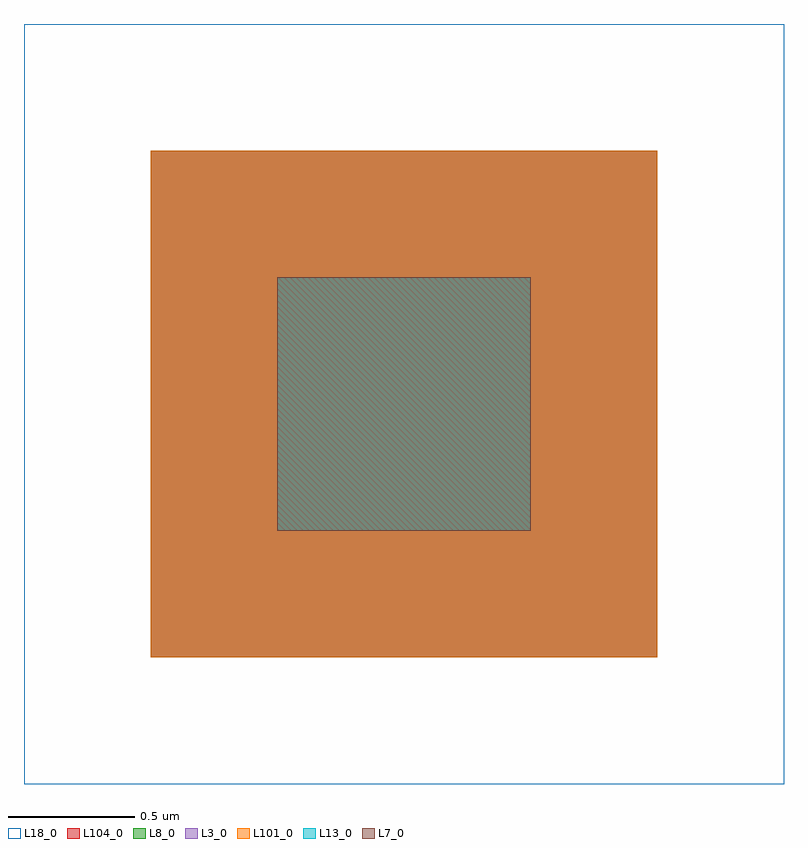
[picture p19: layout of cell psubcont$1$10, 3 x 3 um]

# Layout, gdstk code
import gdstk
lib = gdstk.Library(unit=1e-6, precision=1e-07)
def R(c, l, rs):  # rectangles x0, y0, x1, y1
    for r in rs: c.add(gdstk.rectangle(r[:2], r[2:], *l))
L3_0 = (3, 0)
L7_0 = (7, 0)
L8_0 = (8, 0)
L13_0 = (13, 0)
L18_0 = (18, 0)
L101_0 = (101, 0)
L104_0 = (104, 0)

dcont1_1_9 = lib.new_cell('dcont1$1$9')
R(dcont1_1_9, L3_0, [(-1,-1,1,1)])
R(dcont1_1_9, L7_0, [(-0.5,-0.5,0.5,0.5)])
R(dcont1_1_9, L8_0, [(-1,-1,1,1)])
R(dcont1_1_9, L13_0, [(-0.5,-0.5,0.5,0.5)])
R(dcont1_1_9, L101_0, [(-1,-1,1,1)])

psubcont_1_10 = lib.new_cell('psubcont$1$10')
R(psubcont_1_10, L18_0, [(-1.5,-1.5,1.5,1.5)])
R(psubcont_1_10, L104_0, [(-1,-1,1,1)])
psubcont_1_10.add(gdstk.Reference(dcont1_1_9, (0,0)))

lib.write_gds('psubcont_1_10.gds')
